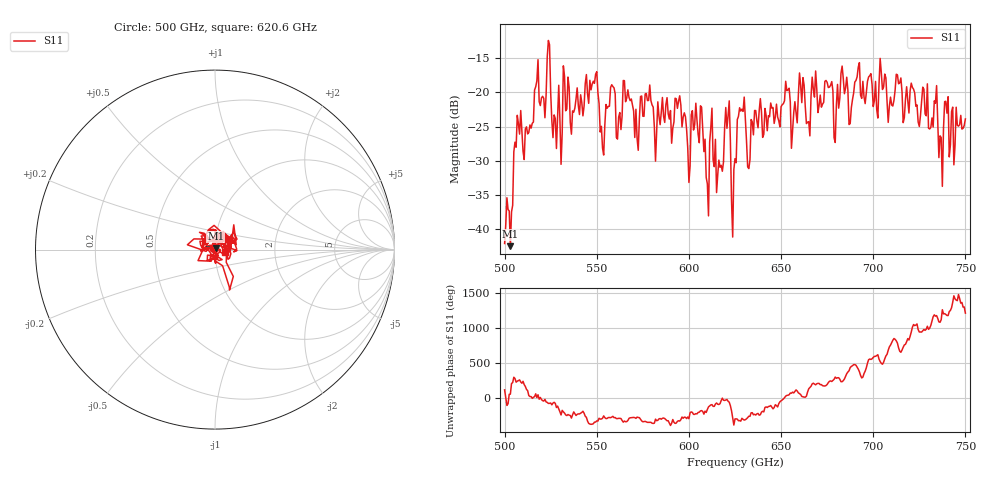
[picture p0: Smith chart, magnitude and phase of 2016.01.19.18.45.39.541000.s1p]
!Created with skrf (http://scikit-rf.org).
# GHz S RI R 50.0
!freq ReS11 ImS11
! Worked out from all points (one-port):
!   401 points, 500 GHz to 750 GHz, reference 50 ohm
!   lowest |S11| = -42.4 dB at 503.1 GHz (marker M1), VSWR 1.02, Z = 50.4 + j0.67 ohm
!   |S11| at or under -10 dB: start of sweep to end of sweep
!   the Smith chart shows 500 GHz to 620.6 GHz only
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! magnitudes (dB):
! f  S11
! 500 GHz  -42.0
! 503.1 GHz  -42.4
! 506.2 GHz  -28.0
! 517.5 GHz  -18.3
! 531.2 GHz  -25.9
! 548.8 GHz  -18.7
! 553.1 GHz  -28.1
! 558.8 GHz  -19.1
! 562.5 GHz  -22.9
! 593.8 GHz  -22.3
! 599.4 GHz  -28.2
! 607.5 GHz  -25.5
! 609.4 GHz  -32.4
! 616.2 GHz  -29.9
! 620.6 GHz  -25.2
! 625 GHz  -29.7
! 628.8 GHz  -22.4
! 631.9 GHz  -30.9
! 653.1 GHz  -19.8
! 656.2 GHz  -25.5
! 661.2 GHz  -21.5
! 664.4 GHz  -24.3
! 687.5 GHz  -24.5
! 691.2 GHz  -17.7
! 718.8 GHz  -21.2
! 736.9 GHz  -26.6
! 739.4 GHz  -21.3
! 750 GHz  -23.9
